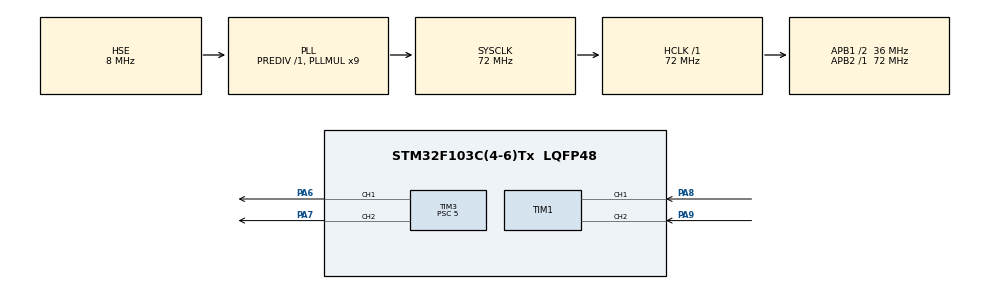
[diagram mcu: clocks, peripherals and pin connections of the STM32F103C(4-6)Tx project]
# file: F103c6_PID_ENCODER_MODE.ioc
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Mcu.Family=STM32F1
Mcu.Name=STM32F103C(4-6)Tx
Mcu.Package=LQFP48
NVIC.PriorityGroup=NVIC_PRIORITYGROUP_4
NVIC.TIM2_IRQn=true\:0\:0\:false\:false\:true\:true\:true\:true
PA13.Mode=Serial_Wire
PA13.Signal=SYS_JTMS-SWDIO
PA14.Mode=Serial_Wire
PA14.Signal=SYS_JTCK-SWCLK
PA6.Signal=S_TIM3_CH1
PA7.Signal=S_TIM3_CH2
PA8.Signal=S_TIM1_CH1
PA9.Signal=S_TIM1_CH2
PD0-OSC_IN.Mode=HSE-External-Oscillator
PD0-OSC_IN.Signal=RCC_OSC_IN
PD1-OSC_OUT.Mode=HSE-External-Oscillator
PD1-OSC_OUT.Signal=RCC_OSC_OUT
ProjectManager.HeapSize=0x200
ProjectManager.StackSize=0x400
ProjectManager.TargetToolchain=STM32CubeIDE
RCC.AHBFreq_Value=72000000
RCC.APB1CLKDivider=RCC_HCLK_DIV2
RCC.APB1Freq_Value=36000000
RCC.APB1TimFreq_Value=72000000
RCC.APB2Freq_Value=72000000
RCC.APB2TimFreq_Value=72000000
RCC.HCLKFreq_Value=72000000
RCC.PLLMUL=RCC_PLL_MUL9
RCC.PLLSourceVirtual=RCC_PLLSOURCE_HSE
RCC.SYSCLKFreq_VALUE=72000000
RCC.SYSCLKSource=RCC_SYSCLKSOURCE_PLLCLK
RCC.USBFreq_Value=72000000
SH.S_TIM1_CH1.0=TIM1_CH1,Encoder_Interface
SH.S_TIM1_CH2.0=TIM1_CH2,Encoder_Interface
SH.S_TIM3_CH1.0=TIM3_CH1,PWM Generation1 CH1
SH.S_TIM3_CH2.0=TIM3_CH2,PWM Generation2 CH2
TIM1.AutoReloadPreload=TIM_AUTORELOAD_PRELOAD_DISABLE
TIM1.EncoderMode=TIM_ENCODERMODE_TI12
TIM2.AutoReloadPreload=TIM_AUTORELOAD_PRELOAD_ENABLE
TIM2.Period=9999
TIM2.Prescaler=143
TIM3.Channel-PWM\ Generation1\ CH1=TIM_CHANNEL_1
TIM3.Channel-PWM\ Generation2\ CH2=TIM_CHANNEL_2
TIM3.Period=999
TIM3.Prescaler=5
VP_TIM2_VS_ClockSourceINT.Mode=Internal
board=custom

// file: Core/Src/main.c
/* USER CODE BEGIN Header */
/**
  ******************************************************************************
  * @file           : main.c
  * @brief          : Main program body
  ******************************************************************************
  * @attention
  *
  * Copyright (c) 2023 STMicroelectronics.
  * All rights reserved.
  *
  * This software is licensed under terms that can be found in the LICENSE file
  * in the root directory of this software component.
  * If no LICENSE file comes with this software, it is provided AS-IS.
  *
  ******************************************************************************
  */
/* USER CODE END Header */
#include "main.h"
#include "tim.h"
#include "gpio.h"

/* USER CODE BEGIN Includes */

#include "PID.h"
#include <stdlib.h>

/* USER CODE END Includes */

/* USER CODE BEGIN PTD */

	PIDController MPID;

/* USER CODE END PTD */

/* USER CODE BEGIN PM */

	/* WITH BOYLOY ADD TUA = 0.009 */

		// #define MKp 0.2866
		// #define MKi 5.109

	/* WITH TEACHER CHIVORN TUA = 0.09 */

		#define MKp 0.8280
		#define MKi 179.14

		#define MKd 0.0

/* USER CODE END PM */

/* USER CODE BEGIN PV */

	/* PID */

		#define pi 3.1415
		#define Motor1 0

		#define CPR 1292  /* COUNT PER REVOTION */
		#define Sample_time 20 // MS

		uint16_t cnt[1];
		uint16_t Enc_count[1];

		uint16_t v;
		uint16_t count[1]; /* COUNT PULSE FOR ENCODER */
		uint16_t new_count[1];
		uint8_t count_state[1];
		uint16_t diff[1]; /* DIFFENCE BETWEEN COUNT AND NEW_COUNT IN A SAMPLE TIME  */
		uint16_t c;

		float speedM[1];
		float rdps[1];

		float Motor1_speed ;
		float V1 ; /* TARGET SPEED OF MOTOR 1 */
		float pwm_M1 ;

/* USER CODE END PV */

void SystemClock_Config(void);
/* USER CODE BEGIN PFP */

	/* MAP */

		float map(float Input, float Min_Input, float Max_Input, float Min_Output, float Max_Output) {
			return (float) ((Input - Min_Input) * (Max_Output - Min_Output) / (Max_Input - Min_Input) + Min_Output);
		}

	/* ENCODER MODE */

		float Motors_RPS(int j, float SampleTime, float N_round)
		{

			/* ENCODER MODE */

				new_count[j] = TIM1->CNT;
				count_state[j] = __HAL_TIM_IS_TIM_COUNTING_DOWN(&htim1);

				if (count_state[j])
					{
						if (new_count[j] <= count[j])
						{
							diff[j] = count[j] - new_count[j]; /* CHECK FOR COUNTER UNDERFLOW */
						}
						else
						{
							diff[j] = (65536 - new_count[j]) + count[j];
						}
						speedM[j] = (float)diff[j] * 1000.0f / (N_round * SampleTime)*-1;
					}
					else
					{
						if (new_count[j] >= count[j])
						{
							diff[j] = new_count[j] - count[j]; /* CHECK FOR COUNTER OVERFLOW */
						}
						else
						{
							diff[j] = (65536 - count[j]) + new_count[j];
						}
						speedM[j] = (float)diff[j] * 1000.0f / (N_round * SampleTime);
					}

					rdps[j] = -2.0f * pi * speedM[j];
					count[j] = new_count[j];

					return rdps[j];
		}

/* USER CODE END PFP */

int main(void)
{
  /* USER CODE BEGIN 1 */

	/* INNITAIL PARAMET PID */

		PID_Init(&MPID, 1);
		MPID.T = 0.02;		/* T = 10MS */
		MPID.limMax = 1000;
		MPID.limMin = -1000;
		MPID.limMaxInt = 1000;
		MPID.limMinInt = -1000;
		MPID.tau = 0;	/* FOR Kd */

  /* USER CODE END 1 */

  /* MCU Configuration--------------------------------------------------------*/

  /* Reset of all peripherals, Initializes the Flash interface and the Systick. */
  HAL_Init();

  /* Configure the system clock */
  SystemClock_Config();

  /* Initialize all configured peripherals */
  MX_GPIO_Init();
  MX_TIM1_Init();
  MX_TIM2_Init();
  MX_TIM3_Init();
  /* USER CODE BEGIN 2 */

		/* TIMER ENCODER MODE */

			 HAL_TIM_Encoder_Start(&htim1, TIM_CHANNEL_ALL);

		/* TIMER */

			HAL_TIM_Base_Start_IT(&htim2);

		/* TIMER 3 MOTOR */

			HAL_TIM_PWM_Start(&htim3, TIM_CHANNEL_1);
			HAL_TIM_PWM_Start(&htim3, TIM_CHANNEL_2);

  /* USER CODE END 2 */

  /* Infinite loop */
  while (1)
  {

  }
}

void SystemClock_Config(void)
{
  RCC_OscInitTypeDef RCC_OscInitStruct = {0};
  RCC_ClkInitTypeDef RCC_ClkInitStruct = {0};

  /** Initializes the RCC Oscillators according to the specified parameters
  * in the RCC_OscInitTypeDef structure.
  */
  RCC_OscInitStruct.OscillatorType = RCC_OSCILLATORTYPE_HSE;
  RCC_OscInitStruct.HSEState = RCC_HSE_ON;
  RCC_OscInitStruct.HSEPredivValue = RCC_HSE_PREDIV_DIV1;
  RCC_OscInitStruct.HSIState = RCC_HSI_ON;
  RCC_OscInitStruct.PLL.PLLState = RCC_PLL_ON;
  RCC_OscInitStruct.PLL.PLLSource = RCC_PLLSOURCE_HSE;
  RCC_OscInitStruct.PLL.PLLMUL = RCC_PLL_MUL9;
  if (HAL_RCC_OscConfig(&RCC_OscInitStruct) != HAL_OK)
  {
    Error_Handler();
  }

  /** Initializes the CPU, AHB and APB buses clocks
  */
  RCC_ClkInitStruct.ClockType = RCC_CLOCKTYPE_HCLK|RCC_CLOCKTYPE_SYSCLK
                              |RCC_CLOCKTYPE_PCLK1|RCC_CLOCKTYPE_PCLK2;
  RCC_ClkInitStruct.SYSCLKSource = RCC_SYSCLKSOURCE_PLLCLK;
  RCC_ClkInitStruct.AHBCLKDivider = RCC_SYSCLK_DIV1;
  RCC_ClkInitStruct.APB1CLKDivider = RCC_HCLK_DIV2;
  RCC_ClkInitStruct.APB2CLKDivider = RCC_HCLK_DIV1;

  if (HAL_RCC_ClockConfig(&RCC_ClkInitStruct, FLASH_LATENCY_2) != HAL_OK)
  {
    Error_Handler();
  }
}

/* USER CODE BEGIN 4 */

/* MAKER TIMER INTERRUPP 1mS */

	void HAL_TIM_PeriodElapsedCallback(TIM_HandleTypeDef *htim) {
		if (htim->Instance == TIM2) {

			/* TEST SPEED MOTOR */

				//Motor1_speed = Motors_RPS(Motor1, Sample_time, CPR);

				// TIM3->CCR1 = 0;
				// TIM3->CCR2 = V1;

			/* PID */

				/* PID NEED TO CHANGE FOR USING */

					pwm_M1 = PID(&MPID, V1, Motor1_speed, MKp, MKi, MKd, Motor1);

				/* MEASURMENT FEEDBACK SPEED */

					Motor1_speed = Motors_RPS(Motor1, Sample_time, CPR);

					if (V1 > 0) {
						TIM3->CCR1 = 0;
						TIM3->CCR2 = pwm_M1;
					}
					else if(V1 < 0) {
						TIM3->CCR1 = -1 * pwm_M1;
						TIM3->CCR2 = 0;
					}
					else
					{
						TIM3->CCR2 = 0;
						TIM3->CCR1 = 0;
					}
			}
	}

/* USER CODE END 4 */

void Error_Handler(void)
{
  __disable_irq();
  while (1)
  {
  }
}
